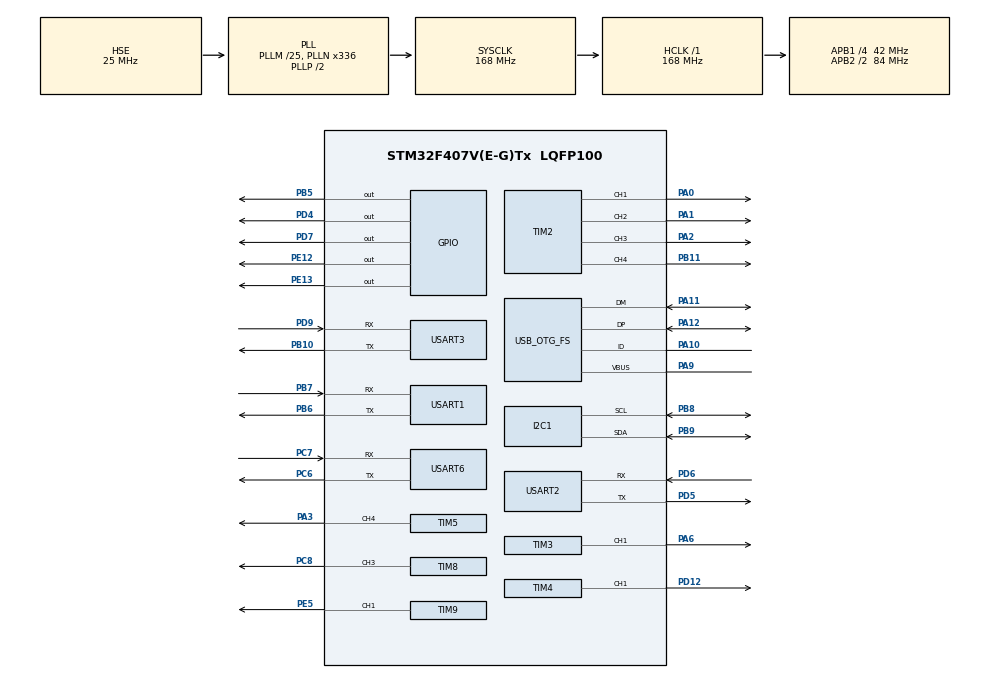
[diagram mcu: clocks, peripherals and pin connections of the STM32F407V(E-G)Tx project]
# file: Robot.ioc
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FREERTOS.Tasks01=defaultTask,24,128,StartDefaultTask,Default,NULL,Dynamic,NULL,NULL
Mcu.Family=STM32F4
Mcu.Name=STM32F407V(E-G)Tx
Mcu.Package=LQFP100
NVIC.PriorityGroup=NVIC_PRIORITYGROUP_4
NVIC.TIM8_TRG_COM_TIM14_IRQn=true\:15\:0\:false\:false\:true\:false\:false\:true\:true
NVIC.TimeBase=TIM8_TRG_COM_TIM14_IRQn
NVIC.TimeBaseIP=TIM14
PA0-WKUP.Signal=S_TIM2_CH1_ETR
PA1.Signal=S_TIM2_CH2
PA10.Mode=OTG/Dual_Role_Device
PA10.Signal=USB_OTG_FS_ID
PA11.Mode=OTG/Dual_Role_Device
PA11.Signal=USB_OTG_FS_DM
PA12.Mode=OTG/Dual_Role_Device
PA12.Signal=USB_OTG_FS_DP
PA13.Mode=JTAG_4_pins
PA13.Signal=SYS_JTMS-SWDIO
PA14.Mode=JTAG_4_pins
PA14.Signal=SYS_JTCK-SWCLK
PA15.Mode=JTAG_4_pins
PA15.Signal=SYS_JTDI
PA2.Signal=S_TIM2_CH3
PA3.Signal=S_TIM5_CH4
PA6.Signal=S_TIM3_CH1
PA9.Mode=Activate_VBUS
PA9.Signal=USB_OTG_FS_VBUS
PB10.Mode=Asynchronous
PB10.Signal=USART3_TX
PB11.Signal=S_TIM2_CH4
PB3.Mode=JTAG_4_pins
PB3.Signal=SYS_JTDO-SWO
PB5.Signal=GPIO_Output
PB6.Mode=Asynchronous
PB6.Signal=USART1_TX
PB7.Mode=Asynchronous
PB7.Signal=USART1_RX
PB8.Mode=I2C
PB8.Signal=I2C1_SCL
PB9.Mode=I2C
PB9.Signal=I2C1_SDA
PC6.Mode=Asynchronous
PC6.Signal=USART6_TX
PC7.Mode=Asynchronous
PC7.Signal=USART6_RX
PC8.Signal=S_TIM8_CH3
PD12.Signal=S_TIM4_CH1
PD4.Signal=GPIO_Output
PD5.Mode=Asynchronous
PD5.Signal=USART2_TX
PD6.Mode=Asynchronous
PD6.Signal=USART2_RX
PD7.Signal=GPIO_Output
PD9.Mode=Asynchronous
PD9.Signal=USART3_RX
PE12.Signal=GPIO_Output
PE13.Signal=GPIO_Output
PE5.Signal=S_TIM9_CH1
PH0-OSC_IN.Mode=HSE-External-Oscillator
PH0-OSC_IN.Signal=RCC_OSC_IN
PH1-OSC_OUT.Mode=HSE-External-Oscillator
PH1-OSC_OUT.Signal=RCC_OSC_OUT
ProjectManager.HeapSize=0x200
ProjectManager.StackSize=0x400
ProjectManager.TargetToolchain=MDK-ARM V5.32
RCC.48MHZClocksFreq_Value=48000000
RCC.AHBFreq_Value=168000000
RCC.APB1CLKDivider=RCC_HCLK_DIV4
RCC.APB1Freq_Value=42000000
RCC.APB1TimFreq_Value=84000000
RCC.APB2CLKDivider=RCC_HCLK_DIV2
RCC.APB2Freq_Value=84000000
RCC.APB2TimFreq_Value=168000000
RCC.CortexFreq_Value=168000000
RCC.HCLKFreq_Value=168000000
RCC.HSE_VALUE=25000000
RCC.HSI_VALUE=16000000
RCC.LSE_VALUE=32768
RCC.PLLM=25
RCC.PLLN=336
RCC.PLLQ=7
RCC.SYSCLKFreq_VALUE=168000000
RCC.SYSCLKSource=RCC_SYSCLKSOURCE_PLLCLK
RCC.VCOOutputFreq_Value=336000000
SH.S_TIM2_CH1_ETR.0=TIM2_CH1,PWM Generation1 CH1
SH.S_TIM2_CH2.0=TIM2_CH2,Output Compare2 CH2
SH.S_TIM2_CH3.0=TIM2_CH3,PWM Generation3 CH3
SH.S_TIM2_CH4.0=TIM2_CH4,PWM Generation4 CH4
SH.S_TIM3_CH1.0=TIM3_CH1,PWM Generation1 CH1
SH.S_TIM4_CH1.0=TIM4_CH1,PWM Generation1 CH1
SH.S_TIM5_CH4.0=TIM5_CH4,PWM Generation4 CH4
SH.S_TIM8_CH3.0=TIM8_CH3,PWM Generation3 CH3
SH.S_TIM9_CH1.0=TIM9_CH1,PWM Generation1 CH1
TIM2.Channel-Output\ Compare2\ CH2=TIM_CHANNEL_2
TIM2.Channel-PWM\ Generation1\ CH1=TIM_CHANNEL_1
TIM2.Channel-PWM\ Generation3\ CH3=TIM_CHANNEL_3
TIM2.Channel-PWM\ Generation4\ CH4=TIM_CHANNEL_4
TIM3.Channel-PWM\ Generation1\ CH1=TIM_CHANNEL_1
TIM4.Channel-PWM\ Generation1\ CH1=TIM_CHANNEL_1
TIM5.Channel-PWM\ Generation4\ CH4=TIM_CHANNEL_4
TIM8.Channel-PWM\ Generation3\ CH3=TIM_CHANNEL_3
TIM9.Channel-PWM\ Generation1\ CH1=TIM_CHANNEL_1
USART1.VirtualMode=VM_ASYNC
USART2.VirtualMode=VM_ASYNC
USART3.VirtualMode=VM_ASYNC
USART6.VirtualMode=VM_ASYNC
VP_FREERTOS_VS_CMSIS_V2.Mode=CMSIS_V2
VP_SYS_VS_tim14.Mode=TIM14
board=custom

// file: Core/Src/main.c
/* USER CODE BEGIN Header */
/**
  ******************************************************************************
  * @file           : main.c
  * @brief          : Main program body
  ******************************************************************************
  * @attention
  *
  * Copyright (c) 2026 STMicroelectronics.
  * All rights reserved.
  *
  * This software is licensed under terms that can be found in the LICENSE file
  * in the root directory of this software component.
  * If no LICENSE file comes with this software, it is provided AS-IS.
  *
  ******************************************************************************
  */
/* USER CODE END Header */
#include "main.h"
#include "cmsis_os.h"
#include "i2c.h"
#include "tim.h"
#include "usart.h"
#include "usb_otg.h"
#include "gpio.h"

void SystemClock_Config(void);
void MX_FREERTOS_Init(void);

int main(void)
{

  /* MCU Configuration--------------------------------------------------------*/

  /* Reset of all peripherals, Initializes the Flash interface and the Systick. */
  HAL_Init();

  /* Configure the system clock */
  SystemClock_Config();

  /* Initialize all configured peripherals */
  MX_GPIO_Init();
  MX_I2C1_Init();
  MX_TIM2_Init();
  MX_TIM3_Init();
  MX_TIM4_Init();
  MX_TIM5_Init();
  MX_TIM8_Init();
  MX_TIM9_Init();
  MX_USART1_UART_Init();
  MX_USART2_UART_Init();
  MX_USART3_UART_Init();
  MX_USART6_UART_Init();
  MX_USB_OTG_FS_USB_Init();

  /* Init scheduler */
  osKernelInitialize();  /* Call init function for freertos objects (in cmsis_os2.c) */
  MX_FREERTOS_Init();

  /* Start scheduler */
  osKernelStart();

  /* We should never get here as control is now taken by the scheduler */

  /* Infinite loop */
  while (1)
  {

  }
}

void SystemClock_Config(void)
{
  RCC_OscInitTypeDef RCC_OscInitStruct = {0};
  RCC_ClkInitTypeDef RCC_ClkInitStruct = {0};

  /** Configure the main internal regulator output voltage
  */
  __HAL_RCC_PWR_CLK_ENABLE();
  __HAL_PWR_VOLTAGESCALING_CONFIG(PWR_REGULATOR_VOLTAGE_SCALE1);

  /** Initializes the RCC Oscillators according to the specified parameters
  * in the RCC_OscInitTypeDef structure.
  */
  RCC_OscInitStruct.OscillatorType = RCC_OSCILLATORTYPE_HSE;
  RCC_OscInitStruct.HSEState = RCC_HSE_ON;
  RCC_OscInitStruct.PLL.PLLState = RCC_PLL_ON;
  RCC_OscInitStruct.PLL.PLLSource = RCC_PLLSOURCE_HSE;
  RCC_OscInitStruct.PLL.PLLM = 25;
  RCC_OscInitStruct.PLL.PLLN = 336;
  RCC_OscInitStruct.PLL.PLLP = RCC_PLLP_DIV2;
  RCC_OscInitStruct.PLL.PLLQ = 7;
  if (HAL_RCC_OscConfig(&RCC_OscInitStruct) != HAL_OK)
  {
    Error_Handler();
  }

  /** Initializes the CPU, AHB and APB buses clocks
  */
  RCC_ClkInitStruct.ClockType = RCC_CLOCKTYPE_HCLK|RCC_CLOCKTYPE_SYSCLK
                              |RCC_CLOCKTYPE_PCLK1|RCC_CLOCKTYPE_PCLK2;
  RCC_ClkInitStruct.SYSCLKSource = RCC_SYSCLKSOURCE_PLLCLK;
  RCC_ClkInitStruct.AHBCLKDivider = RCC_SYSCLK_DIV1;
  RCC_ClkInitStruct.APB1CLKDivider = RCC_HCLK_DIV4;
  RCC_ClkInitStruct.APB2CLKDivider = RCC_HCLK_DIV2;

  if (HAL_RCC_ClockConfig(&RCC_ClkInitStruct, FLASH_LATENCY_5) != HAL_OK)
  {
    Error_Handler();
  }
}

void HAL_TIM_PeriodElapsedCallback(TIM_HandleTypeDef *htim)
{
  if (htim->Instance == TIM14)
  {
    HAL_IncTick();
  }
}

void Error_Handler(void)
{
  __disable_irq();
  while (1)
  {
  }
}

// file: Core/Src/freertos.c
/* USER CODE BEGIN Header */
/**
  ******************************************************************************
  * File Name          : freertos.c
  * Description        : Code for freertos applications
  ******************************************************************************
  * @attention
  *
  * Copyright (c) 2026 STMicroelectronics.
  * All rights reserved.
  *
  * This software is licensed under terms that can be found in the LICENSE file
  * in the root directory of this software component.
  * If no LICENSE file comes with this software, it is provided AS-IS.
  *
  ******************************************************************************
  */
/* USER CODE END Header */

#include "FreeRTOS.h"
#include "task.h"
#include "main.h"
#include "cmsis_os.h"

/* USER CODE BEGIN Includes */
#include "chassis.h"
#include "stepper.h"
#include "usart.h"
#include <stdio.h>
#include <stdarg.h>
#include <string.h>
#include <stdbool.h>
#include <math.h>
/* USER CODE END Includes */

/* USER CODE BEGIN Variables */
osThreadId_t chassisTaskHandle;
const osThreadAttr_t chassisTask_attributes = {
  .name = "chassisTask",
  .stack_size = 512 * 4,
  .priority = (osPriority_t) osPriorityAboveNormal,
};
/* USER CODE END Variables */
/* Definitions for defaultTask */
osThreadId_t defaultTaskHandle;
const osThreadAttr_t defaultTask_attributes = {
  .name = "defaultTask",
  .stack_size = 256 * 4,
  .priority = (osPriority_t) osPriorityNormal,
};

/* USER CODE BEGIN FunctionPrototypes */
void StartChassisTask(void *argument);
static void chassis_uart_log(const char *fmt, ...);
/* USER CODE END FunctionPrototypes */

void StartDefaultTask(void *argument);

void MX_FREERTOS_Init(void); /* (MISRA C 2004 rule 8.1) */

void MX_FREERTOS_Init(void) {
  /* USER CODE BEGIN Init */
  chassis_init();
  Stepper_Init();          /* 配置 4 个步进定时器(Prescaler/ARR/占空比), 不立即转 */
  /* USER CODE END Init */

  /* Create the thread(s) */
  /* creation of defaultTask */
  defaultTaskHandle = osThreadNew(StartDefaultTask, NULL, &defaultTask_attributes);

  /* USER CODE BEGIN RTOS_THREADS */
  chassisTaskHandle = osThreadNew(StartChassisTask, NULL, &chassisTask_attributes);
  /* USER CODE END RTOS_THREADS */

}

void StartDefaultTask(void *argument)
{
  /* USER CODE BEGIN StartDefaultTask */
  /*
   * 指令层(状态机, 非阻塞): 世界坐标系下走一条路径.
   * 设计要点:
   *   - move_to_coordinate / headturn 均为"发起-查询"语义, 反复调用同一目标
   *     仅在目标变化时重新规划, 否则只查询 arrived 状态.
   *   - 本任务为低优先级, 可做阻塞串口打印; 控制环在 chassisTask(1ms) 中独立运行.
   *   - 10ms 节拍查询状态, 100ms 节拍打印一次 pose/轮速.
   */
  (void)argument;

  enum { DS_MOVE1, DS_TURN, DS_MOVE2, DS_DONE };
  uint8_t demo_state = DS_MOVE1;
  uint8_t log_div = 0;
  uint8_t settle = 0;  /* 到达后短暂停留计数 */

  chassis_uart_log("\r\n[chassis demo] start (world frame)\r\n");

  for (;;)
  {
    bool done = false;
    switch (demo_state)
    {
    case DS_MOVE1:
      /* 平移到世界坐标 (1000, 0) mm */
      done = move_to_coordinate(1000.0f, 0.0f);
      if (done) {
        chassis_uart_log("[1] reached (1000,0)\r\n");
        settle = 30;          /* 约 300ms 停顿, 便于观察 */
        demo_state = DS_TURN;
      }
      break;
    case DS_TURN:
      if (settle > 0) { settle--; break; }
      /* 转向到绝对角度 90 度 (有陀螺仪则用陀螺仪, 否则里程计积分) */
      done = headturn(90);
      if (done) {
        chassis_uart_log("[2] reached head=90\r\n");
        settle = 30;
        demo_state = DS_MOVE2;
      }
      break;
    case DS_MOVE2:
      if (settle > 0) { settle--; break; }
      /* 此时车头已转 90°, 仍以世界坐标系走到 (1000, 500) */
      done = move_to_coordinate(1000.0f, 500.0f);
      if (done) {
        chassis_uart_log("[3] reached (1000,500), demo done\r\n");
        demo_state = DS_DONE;
      }
      break;
    case DS_DONE:
    default:
      break;
    }

    /* 每 100ms 打印位姿与 4 轮目标线速度 (上位机观察) */
    if (++log_div >= 10)
    {
      log_div = 0;
      float x, y, th;
      float w[4];
      chassis_get_pose(&x, &y, &th);
      chassis_get_wheel_speed(w);
      chassis_uart_log("pose x=%.1f y=%.1f th=%.1f | w=[%.0f %.0f %.0f %.0f]\r\n",
                       x, y, th, w[0], w[1], w[2], w[3]);
    }

    osDelay(10);   /* 10ms 节拍 */
  }
  /* USER CODE END StartDefaultTask */
}

/* USER CODE BEGIN Application */

/* 1ms 控制层: S 曲线 + 麦轮逆解 + 里程计.
 * 注意: 本任务严格 1ms 节拍, 绝不做阻塞操作(如串口打印), 否则破坏控制环精度.
 *       打印/指令编排交给低优先级的 defaultTask. */
void StartChassisTask(void *argument)
{
  (void)argument;
  TickType_t last = xTaskGetTickCount();

  for (;;)
  {
    chassis_tick();                       /* 推进底盘状态机(内部 dt=1ms) */

    /* 把 chassis 算出的 4 轮目标线速度(mm/s) 下发给步进电机层 */
    float w[4];
    chassis_get_wheel_speed(w);
    Stepper_SetWheelSpeedAll(w);

    vTaskDelayUntil(&last, pdMS_TO_TICKS(1));  /* 严格 1ms */
  }
}

/* 轻量串口日志(USART1, 阻塞发送). 注: 若 Keil 使用 MicroLib 且报 vsnprintf 链接错误,
 * 请在 Options->Target 取消勾选 Use MicroLib(改用默认 libc), 即可支持 %f。 */
static void chassis_uart_log(const char *fmt, ...)
{
  static char buf[160];
  va_list ap;
  va_start(ap, fmt);
  int n = vsnprintf(buf, sizeof(buf), fmt, ap);
  va_end(ap);
  if (n > 0)
  {
    if (n > (int)sizeof(buf)) n = (int)sizeof(buf);
    HAL_UART_Transmit(&huart1, (uint8_t *)buf, (uint16_t)n, 50);
  }
}

/* USER CODE END Application */
